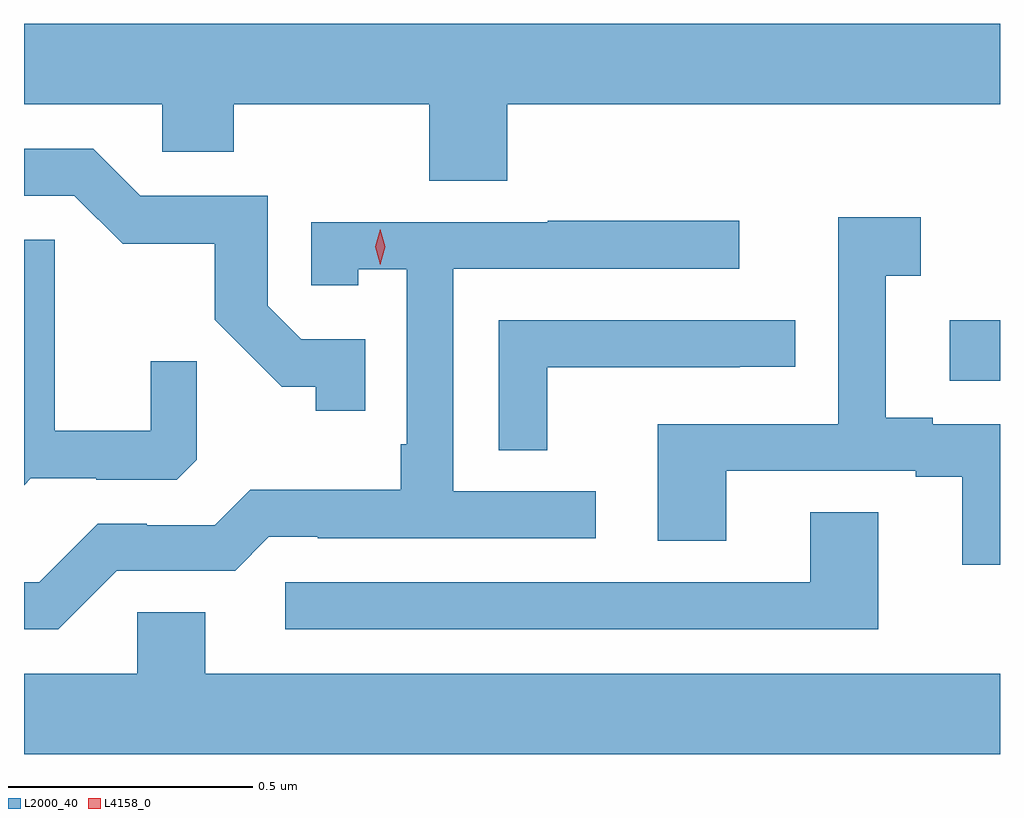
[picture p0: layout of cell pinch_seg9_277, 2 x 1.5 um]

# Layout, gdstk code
import gdstk
lib = gdstk.Library(unit=1e-6, precision=1e-09)
def R(c, l, rs):  # rectangles x0, y0, x1, y1
    for r in rs: c.add(gdstk.rectangle(r[:2], r[2:], *l))
def P(c, l, *ps):  # polygons
    for p in ps: c.add(gdstk.Polygon(p, *l))
L2000_40 = (2000, 40)
L4158_0 = (4158, 0)

pinch_seg9_277 = lib.new_cell('pinch_seg9_277')
R(pinch_seg9_277, L2000_40, [(415.149,1181.201,415.252,1181.325)])
P(pinch_seg9_277, L2000_40, [(414.242,1181.768),(415.252,1181.768),(415.252,1181.932),(413.252,1181.932),(413.252,1181.768),(413.535,1181.768),(413.535,1181.67),(413.682,1181.67),(413.682,1181.768),(414.082,1181.768),(414.082,1181.611),(414.242,1181.611)],
  [(413.951,1181.286),(413.82,1181.286),(413.751,1181.355),(413.751,1181.58),(413.49,1181.58),(413.394,1181.676),(413.252,1181.676),(413.252,1181.58),(413.355,1181.58),(413.454,1181.482),(413.643,1181.482),(413.643,1181.326),(413.78,1181.189),(413.85,1181.189),(413.85,1181.139),(413.951,1181.139)],
  [(415.252,1181.112),(415.114,1181.112),(415.114,1181.125),(415.018,1181.125),(415.018,1181.416),(415.09,1181.416),(415.09,1181.536),(414.921,1181.536),(414.921,1181.112),(414.551,1181.112),(414.551,1180.873),(414.691,1180.873),(414.691,1181.016),(415.079,1181.016),(415.079,1181.004),(415.175,1181.004),(415.175,1180.824),(415.252,1180.824)],
  [(413.442,1180.812),(413.685,1180.812),(413.754,1180.881),(413.854,1180.881),(413.854,1180.878),(414.424,1180.878),(414.424,1180.974),(414.132,1180.974),(414.132,1181.43),(414.718,1181.43),(414.718,1181.529),(414.325,1181.529),(414.325,1181.526),(413.841,1181.526),(413.841,1181.397),(413.937,1181.397),(413.937,1181.429),(414.036,1181.429),(414.036,1181.071),(414.024,1181.071),(414.024,1180.978),(413.716,1180.978),(413.643,1180.905),(413.504,1180.905),(413.504,1180.908),(413.403,1180.908),(413.283,1180.788),(413.252,1180.788),(413.252,1180.692),(413.322,1180.692)],
  [(413.266,1181.001),(413.4,1181.001),(413.4,1180.998),(413.565,1180.998),(413.606,1181.039),(413.606,1181.241),(413.512,1181.241),(413.512,1181.098),(413.315,1181.098),(413.315,1181.49),(413.252,1181.49),(413.252,1180.987)],
  [(414.324,1181.229),(414.719,1181.229),(414.719,1181.23),(414.832,1181.23),(414.832,1181.325),(414.225,1181.325),(414.225,1181.059),(414.324,1181.059)],
  [(415.003,1180.931),(414.863,1180.931),(414.863,1180.788),(413.787,1180.788),(413.787,1180.692),(415.003,1180.692)],
  [(415.252,1180.6),(413.623,1180.6),(413.623,1180.727),(413.484,1180.727),(413.484,1180.6),(413.252,1180.6),(413.252,1180.436),(415.252,1180.436)])
P(pinch_seg9_277, L4158_0, [(413.982,1181.439),(413.982,1181.439),(413.972,1181.475),(413.982,1181.511),(413.982,1181.511),(413.982,1181.511),(413.992,1181.475),(413.982,1181.439)])

lib.write_gds('pinch_seg9_277.gds')
